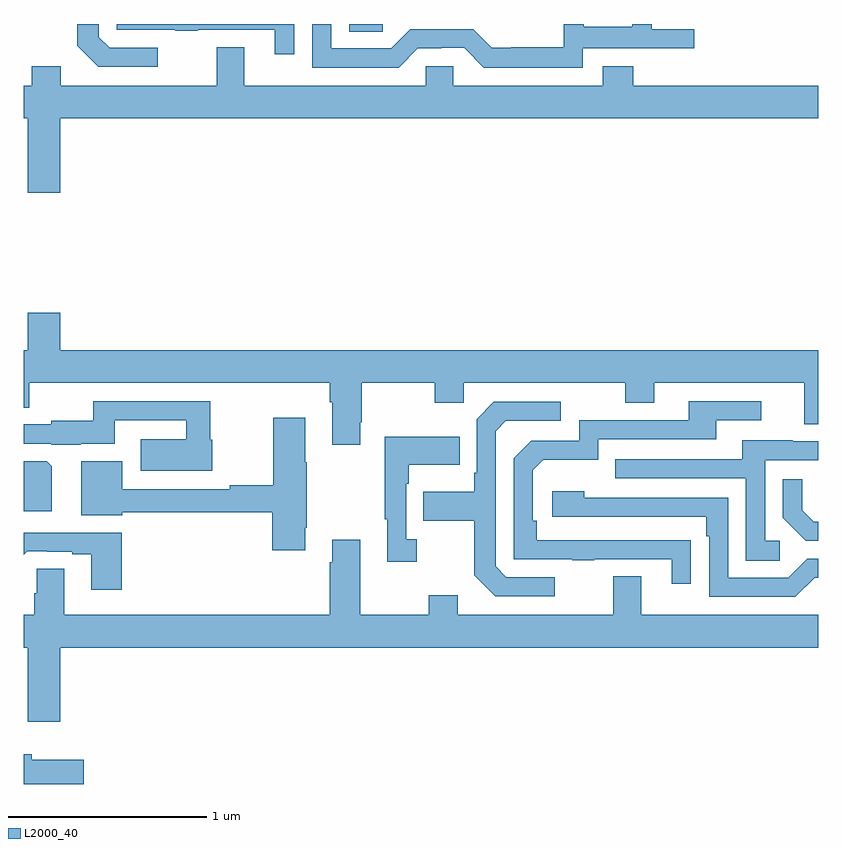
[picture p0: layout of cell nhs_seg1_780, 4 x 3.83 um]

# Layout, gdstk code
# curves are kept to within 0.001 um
import gdstk
lib = gdstk.Library(unit=1e-6, precision=1e-09)
def R(c, l, rs):  # rectangles x0, y0, x1, y1
    for r in rs: c.add(gdstk.rectangle(r[:2], r[2:], *l))
def P(c, l, *ps):  # polygons
    for p in ps: c.add(gdstk.Polygon(p, *l))
L2000_40 = (2000, 40)

nhs_seg1_780 = lib.new_cell('nhs_seg1_780')
R(nhs_seg1_780, L2000_40, [(154.638,560.161,154.807,560.199)])
P(nhs_seg1_780, L2000_40, [(155.814,560.076),(156.376,560.076),(156.376,560.172),(156.162,560.172),(156.162,560.199),(156.064,560.199),(156.064,560.185),(155.819,560.185),(155.819,560.199),(155.718,560.199),(155.718,560.083),(155.455,560.083),(155.455,560.079),(155.355,560.079),(155.262,560.172),(154.947,560.172),(154.851,560.076),(154.548,560.076),(154.548,560.199),(154.452,560.199),(154.452,559.98),(154.887,559.98),(154.983,560.076),(155.102,560.076),(155.102,560.079),(155.217,560.079),(155.317,559.979),(155.814,559.979)],
  [(153.676,560.079),(153.432,560.079),(153.378,560.133),(153.378,560.199),(153.27,560.199),(153.27,560.089),(153.375,559.983),(153.676,559.983)],
  [(154.361,560.199),(153.468,560.199),(153.468,560.169),(153.763,560.169),(153.763,560.164),(153.875,560.164),(153.875,560.169),(154.265,560.169),(154.265,560.046),(154.361,560.046)],
  [(153.184,559.724),(157,559.724),(157,559.888),(156.068,559.888),(156.068,559.987),(155.915,559.987),(155.915,559.888),(155.163,559.888),(155.163,559.986),(155.025,559.986),(155.025,559.888),(154.111,559.888),(154.111,560.083),(153.971,560.083),(153.971,559.888),(153.187,559.888),(153.187,559.987),(153.04,559.987),(153.04,559.888),(153,559.888),(153,559.724),(153.02,559.724),(153.02,559.35),(153.184,559.35)],
  [(154.693,558.193),(154.701,558.193),(154.701,558.392),(155.068,558.392),(155.068,558.293),(155.214,558.293),(155.214,558.392),(156.028,558.392),(156.028,558.293),(156.175,558.293),(156.175,558.392),(156.929,558.392),(156.929,558.184),(157,558.184),(157,558.556),(153.184,558.556),(153.184,558.745),(153.02,558.745),(153.02,558.556),(153,558.556),(153,558.268),(153.027,558.268),(153.027,558.392),(154.541,558.392),(154.541,558.296),(154.553,558.296),(154.553,558.081),(154.693,558.081)],
  [(153.948,558.105),(153.94,558.105),(153.94,558.3),(153.351,558.3),(153.351,558.202),(153.138,558.202),(153.138,558.183),(153,558.183),(153,558.087),(153.138,558.087),(153.138,558.08),(153.288,558.08),(153.288,558.086),(153.459,558.086),(153.459,558.204),(153.819,558.204),(153.819,558.109),(153.588,558.109),(153.588,557.951),(153.948,557.951)],
  [(156.359,557.6),(155.582,557.601),(155.582,557.698),(155.562,557.698),(155.562,557.952),(155.615,558.005),(155.892,558.005),(155.892,558.108),(156.487,558.108),(156.487,558.204),(156.712,558.204),(156.712,558.3),(156.347,558.3),(156.347,558.204),(155.796,558.204),(155.796,558.102),(155.556,558.102),(155.466,558.012),(155.466,557.505),(155.761,557.505),(155.761,557.5),(155.873,557.5),(155.873,557.505),(156.263,557.505),(156.263,557.382),(156.359,557.382)],
  [(155.674,557.415),(155.43,557.415),(155.376,557.469),(155.376,558.15),(155.427,558.201),(155.704,558.201),(155.704,558.297),(155.367,558.297),(155.28,558.21),(155.28,557.941),(155.268,557.941),(155.268,557.845),(155.011,557.845),(155.011,557.698),(155.268,557.698),(155.268,557.425),(155.373,557.319),(155.674,557.319)],
  [(154.417,557.662),(154.425,557.662),(154.425,557.993),(154.417,557.993),(154.417,558.217),(154.255,558.217),(154.255,557.876),(154.036,557.876),(154.036,557.856),(153.496,557.856),(153.496,557.998),(153.29,557.998),(153.29,557.726),(153.496,557.726),(153.496,557.74),(154.25,557.74),(154.25,557.55),(154.417,557.55)],
  [(154.978,557.606),(154.926,557.606),(154.926,557.885),(154.939,557.885),(154.939,557.981),(155.195,557.981),(155.195,558.121),(154.818,558.121),(154.818,557.705),(154.829,557.705),(154.829,557.493),(154.978,557.493)],
  [(156.805,557.598),(156.732,557.598),(156.732,558.003),(157,558.003),(157,558.099),(156.871,558.099),(156.871,558.103),(156.617,558.103),(156.617,558.009),(155.977,558.009),(155.977,557.913),(156.636,557.913),(156.636,557.497),(156.805,557.497)],
  [(153.142,557.972),(153.116,557.998),(153,557.998),(153,557.747),(153.142,557.747)],
  [(157,557.694),(156.976,557.694),(156.919,557.751),(156.919,557.908),(156.822,557.908),(156.822,557.714),(156.938,557.598),(157,557.598)],
  [(156.981,557.412),(157,557.412),(157,557.508),(156.945,557.508),(156.849,557.412),(156.546,557.412),(156.546,557.814),(155.822,557.814),(155.822,557.848),(155.661,557.848),(155.661,557.718),(156.437,557.718),(156.437,557.621),(156.45,557.621),(156.45,557.316),(156.885,557.316)],
  [(153.494,557.638),(153,557.638),(153,557.526),(153.018,557.544),(153.118,557.544),(153.118,557.541),(153.245,557.541),(153.245,557.529),(153.341,557.529),(153.341,557.352),(153.494,557.352)],
  [(153.184,557.06),(157,557.06),(157,557.224),(156.109,557.224),(156.109,557.419),(155.969,557.419),(155.969,557.224),(155.185,557.224),(155.185,557.323),(155.038,557.323),(155.038,557.224),(154.693,557.224),(154.693,557.602),(154.553,557.602),(154.553,557.489),(154.541,557.489),(154.541,557.224),(153.205,557.224),(153.205,557.456),(153.066,557.456),(153.066,557.334),(153.053,557.334),(153.053,557.224),(153,557.224),(153,557.06),(153.02,557.06),(153.02,556.686),(153.184,556.686)],
  [(153.301,556.495),(153.04,556.495),(153.04,556.524),(153,556.524),(153,556.373),(153.301,556.373)])

lib.write_gds('nhs_seg1_780.gds')
